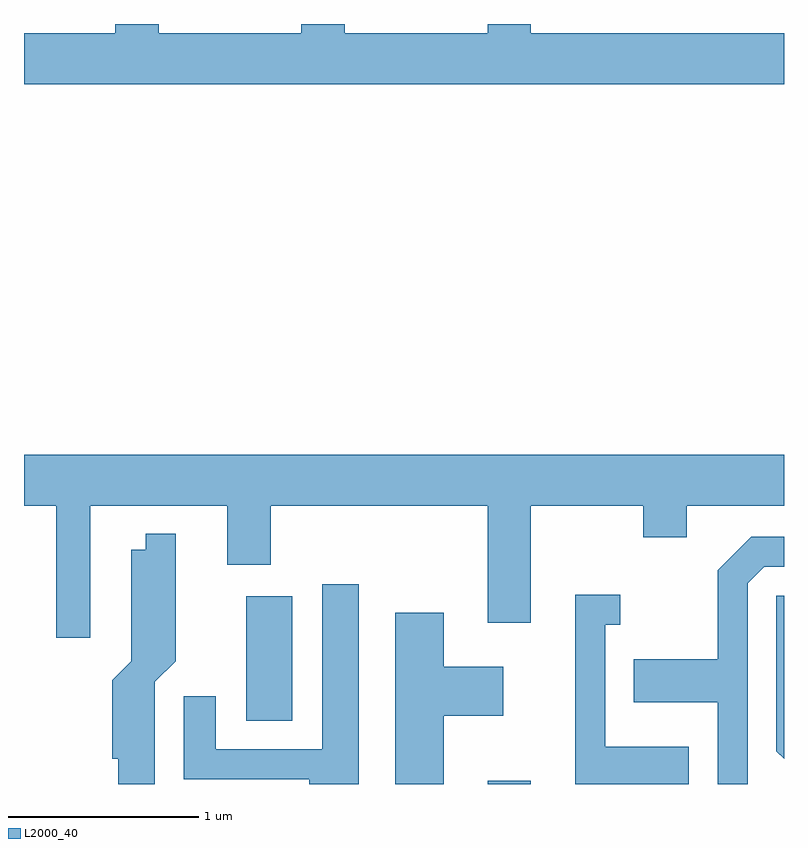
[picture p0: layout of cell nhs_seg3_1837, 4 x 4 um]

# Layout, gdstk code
import gdstk
lib = gdstk.Library(unit=1e-6, precision=1e-09)
def R(c, l, rs):  # rectangles x0, y0, x1, y1
    for r in rs: c.add(gdstk.rectangle(r[:2], r[2:], *l))
def P(c, l, *ps):  # polygons
    for p in ps: c.add(gdstk.Polygon(p, *l))
L2000_40 = (2000, 40)

nhs_seg3_1837 = lib.new_cell('nhs_seg3_1837')
R(nhs_seg3_1837, L2000_40, [(242.051,1117.892,242.279,1117.909), (240.781,1118.226,241.024,1118.879)])
P(nhs_seg3_1837, L2000_40, [(243.611,1121.844),(242.279,1121.844),(242.279,1121.892),(242.051,1121.892),(242.051,1121.844),(241.299,1121.844),(241.299,1121.892),(241.071,1121.892),(241.071,1121.844),(240.319,1121.844),(240.319,1121.892),(240.091,1121.892),(240.091,1121.844),(239.611,1121.844),(239.611,1121.576),(243.611,1121.576)],
  [(239.611,1119.356),(239.781,1119.356),(239.781,1118.661),(239.959,1118.661),(239.959,1119.356),(240.681,1119.356),(240.681,1119.046),(240.909,1119.046),(240.909,1119.356),(242.051,1119.356),(242.051,1118.741),(242.279,1118.741),(242.279,1119.356),(242.871,1119.356),(242.871,1119.191),(243.099,1119.191),(243.099,1119.356),(243.611,1119.356),(243.611,1119.624),(239.611,1119.624)],
  [(240.299,1118.429),(240.409,1118.539),(240.409,1119.208),(240.251,1119.208),(240.251,1119.124),(240.176,1119.124),(240.176,1118.537),(240.076,1118.437),(240.076,1118.026),(240.106,1118.026),(240.106,1117.892),(240.299,1117.892)],
  [(243.419,1118.949),(243.507,1119.036),(243.611,1119.036),(243.611,1119.194),(243.439,1119.194),(243.261,1119.017),(243.261,1118.549),(242.821,1118.549),(242.821,1118.321),(243.261,1118.321),(243.261,1117.892),(243.419,1117.892)],
  [(241.374,1118.944),(241.181,1118.944),(241.181,1118.074),(240.619,1118.074),(240.619,1118.353),(240.451,1118.353),(240.451,1117.916),(241.111,1117.916),(241.111,1117.892),(241.374,1117.892)],
  [(243.109,1118.089),(242.669,1118.089),(242.669,1118.731),(242.748,1118.731),(242.748,1118.889),(242.511,1118.889),(242.511,1117.892),(243.109,1117.892)],
  [(243.611,1118.884),(243.571,1118.884),(243.571,1118.064),(243.611,1118.024)],
  [(241.819,1118.251),(242.134,1118.251),(242.134,1118.509),(241.819,1118.509),(241.819,1118.794),(241.566,1118.794),(241.566,1117.892),(241.819,1117.892)])

lib.write_gds('nhs_seg3_1837.gds')
